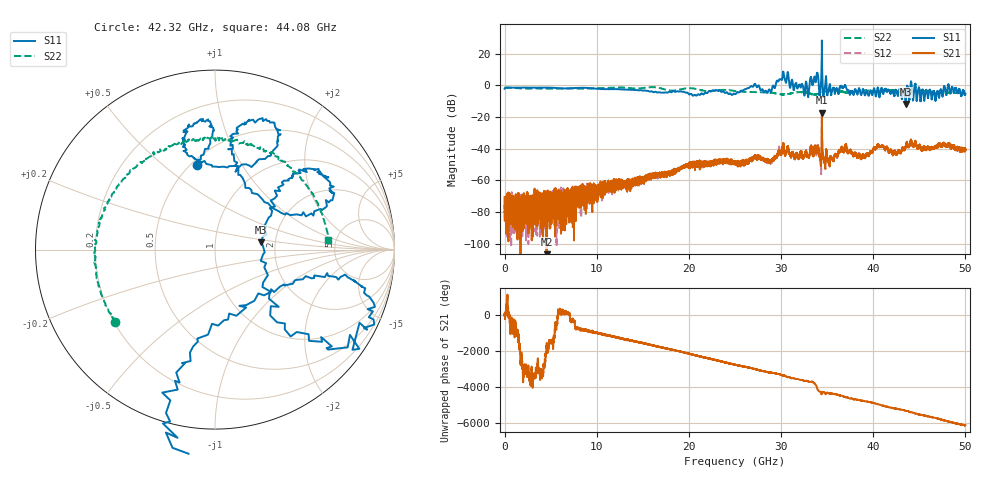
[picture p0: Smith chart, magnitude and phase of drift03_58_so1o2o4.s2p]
!Created with skrf (http://scikit-rf.org).
# Hz S RI R 50.0
!freq ReS11 ImS11 ReS21 ImS21 ReS12 ImS12 ReS22 ImS22
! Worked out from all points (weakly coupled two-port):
!   10000 points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, 5.3 MHz to 50 GHz, reference 50 ohm
!   highest |S21| = -17.31 dB at 34.43 GHz (marker M1); lowest = -110.9 dB at 4.555 GHz (marker M2)
!   lowest |S11| = -11.7 dB at 43.51 GHz (marker M3), VSWR 1.70, Z = 84 + j7.28 ohm
!   |S11| at or under -10 dB: 43.48425 GHz to 43.54353 GHz (59.28 MHz wide, 0.136 % of centre); 45.13948 GHz to 45.14031 GHz (831 kHz wide, 0.00184 % of centre)
!   |S22| runs from -5.8 to -1.1 dB; largest |S21 - S12| = 0.036
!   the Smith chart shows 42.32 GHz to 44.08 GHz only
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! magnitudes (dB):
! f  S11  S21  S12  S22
! 5.3 MHz  -2.1  -70.7  -78.1  -1.3
! 4.555 GHz  -1.4  -110.9  -71.8  -2.0
! 8.34 GHz  -1.5  -66.9  -72.7  -2.1
! 16.67 GHz  -4.4  -57.0  -56.0  -1.5
! 20.08 GHz  -5.7  -49.0  -51.0  -1.7
! 25.01 GHz  -5.5  -48.6  -48.1  -3.5
! 27.02 GHz  -0.4  -46.1  -45.7  -4.2
! 28.72 GHz  -2.5  -47.9  -47.8  -4.5
! 30.14 GHz  4.4  -40.3  -41.3  -5.7
! 32.74 GHz  2.0  -41.8  -41.9  -4.6
! 33.34 GHz  2.6  -40.0  -40.5  -5.6
! 33.82 GHz  4.0  -42.2  -42.2  -5.6
! 34.43 GHz  28.4  -17.3  -19.1  -4.6
! 35.31 GHz  0.6  -47.3  -46.7  -3.4
! 36.84 GHz  -0.7  -41.9  -41.4  -4.1
! 38.85 GHz  -2.8  -44.2  -44.7  -3.2
! 40.58 GHz  -3.3  -37.5  -38.3  -4.0
! 41.67 GHz  -2.9  -41.4  -42.0  -3.3
! 43.51 GHz  -11.7  -38.3  -38.6  -4.1
! 46.94 GHz  -3.7  -39.2  -38.7  -4.9
! 48.32 GHz  -4.5  -38.0  -37.5  -4.6
! 50 GHz  -5.2  -40.8  -41.2  -4.5
